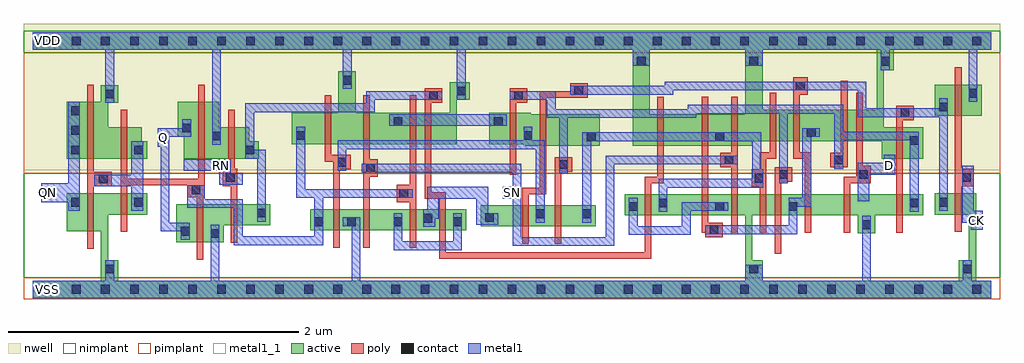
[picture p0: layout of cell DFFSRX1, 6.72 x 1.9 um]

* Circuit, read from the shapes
.subckt DFFSRX1 CK D Q QN RN SN VDD VSS
M1 VSS n1 QN VSS nfet w=0.26u l=0.045u
M2 n1 n2 VSS VSS nfet w=0.145u l=0.045u
M3 VSS n2 Q VSS nfet w=0.26u l=0.045u
M4 n3 RN VSS VSS nfet w=0.145u l=0.045u
M5 VSS n4 n2 VSS nfet w=0.145u l=0.045u
M6 n5 SN VSS VSS nfet w=0.145u l=0.045u
M7 n6 n2 n5 VSS nfet w=0.145u l=0.045u
M8 n5 n3 n6 VSS nfet w=0.145u l=0.045u
M9 n4 n7 n6 VSS nfet w=0.145u l=0.045u
M10 n8 n9 n4 VSS nfet w=0.145u l=0.045u
M11 n8 n3 n10 VSS nfet w=0.145u l=0.045u
M12 n10 n11 n8 VSS nfet w=0.145u l=0.045u
M13 VSS SN n10 VSS nfet w=0.145u l=0.045u
M14 n12 n8 VSS VSS nfet w=0.145u l=0.045u
M15 n11 n9 n12 VSS nfet w=0.145u l=0.045u
M16 n13 n7 n11 VSS nfet w=0.145u l=0.045u
M17 VSS D n13 VSS nfet w=0.145u l=0.045u
M18 n9 n7 VSS VSS nfet w=0.145u l=0.045u
M19 VSS CK n7 VSS nfet w=0.145u l=0.045u
M20 VDD n1 QN VDD pfet w=0.39u l=0.045u
M21 n1 n2 VDD VDD pfet w=0.215u l=0.045u
M22 VDD n2 Q VDD pfet w=0.39u l=0.045u
M23 n3 RN VDD VDD pfet w=0.215u l=0.045u
M24 VDD n4 n2 VDD pfet w=0.215u l=0.045u
M25 n14 SN VDD VDD pfet w=0.215u l=0.045u
M26 n15 n2 n14 VDD pfet w=0.215u l=0.045u
M27 VDD n3 n15 VDD pfet w=0.215u l=0.045u
M28 n4 n9 n14 VDD pfet w=0.215u l=0.045u
M29 n8 n7 n4 VDD pfet w=0.215u l=0.045u
M30 n16 n3 VDD VDD pfet w=0.215u l=0.045u
M31 n8 n11 n16 VDD pfet w=0.215u l=0.045u
M32 VDD SN n8 VDD pfet w=0.215u l=0.045u
M33 n17 n8 VDD VDD pfet w=0.215u l=0.045u
M34 n11 n7 n17 VDD pfet w=0.215u l=0.045u
M35 n18 n9 n11 VDD pfet w=0.215u l=0.045u
M36 VDD D n18 VDD pfet w=0.215u l=0.045u
M37 n9 n7 VDD VDD pfet w=0.215u l=0.045u
M38 VDD CK n7 VDD pfet w=0.215u l=0.045u
.ends

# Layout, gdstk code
import gdstk
lib = gdstk.Library(unit=1e-6, precision=5e-10)
def R(c, l, rs):  # rectangles x0, y0, x1, y1
    for r in rs: c.add(gdstk.rectangle(r[:2], r[2:], *l))
def A(c, l, x, y, w, h, nx, ny, dx, dy):  # array of equal rectangles
    R(c, l, [(x+i*dx, y+j*dy, x+i*dx+w, y+j*dy+h) for i in range(nx) for j in range(ny)])
def P(c, l, *ps):  # polygons
    for p in ps: c.add(gdstk.Polygon(p, *l))
active = (1, 0)
nwell = (2, 0)
poly = (3, 0)
nimplant = (4, 0)
pimplant = (5, 0)
contact = (6, 0)
metal1 = (7, 0)
metal1_1 = (7, 1)

dffsrx1 = lib.new_cell('DFFSRX1')
R(dffsrx1, active, [(1.91,0.405,2.985,0.55), (3.085,0.435,3.875,0.58), (6.21,1.195,6.535,1.41)])
P(dffsrx1, active, [(0,1.77),(6.6,1.77),(6.6,1.65),(5.93,1.65),(5.93,1.51),(5.86,1.51),(5.86,1.115),(6.13,1.115),(6.13,0.9),(5.845,0.9),(5.845,1.02),(4.955,1.02),(4.955,0.99),(4.13,0.99),(4.13,1.65),(4.25,1.65),(4.25,1.205),(4.905,1.205),(4.905,1.65),(5.025,1.65),(5.025,1.235),(5.81,1.235),(5.81,1.65),(0,1.65)],
  [(0.47,1.405),(0.59,1.405),(0.59,1.285),(0.52,1.285),(0.52,1.115),(0.75,1.115),(0.75,1.02),(0.79,1.02),(0.79,0.9),(0.235,0.9),(0.235,1.29),(0.47,1.29)],
  [(2.105,1.5),(2.225,1.5),(2.225,1.215),(2.87,1.215),(2.87,1.425),(3.01,1.425),(3.01,1.305),(2.92,1.305),(2.92,1),(1.785,1),(1.785,1.215),(2.105,1.215)],
  [(1,1.29),(1.285,1.29),(1.285,1.115),(1.49,1.115),(1.49,1.02),(1.555,1.02),(1.555,0.9),(1.04,0.9),(1.04,1.05),(1,1.05)],
  [(3.145,1.215),(3.43,1.215),(3.43,1.205),(3.905,1.205),(3.905,0.99),(3.39,0.99),(3.39,1),(3.145,1)],
  [(0.235,0.66),(0.79,0.66),(0.79,0.515),(0.52,0.515),(0.52,0.2),(0.59,0.2),(0.59,0.06),(4.905,0.06),(4.905,0.51),(4.075,0.51),(4.075,0.655),(6.13,0.655),(6.13,0.51),(5.8,0.51),(5.8,0.385),(5.68,0.385),(5.68,0.51),(4.955,0.51),(4.955,0.2),(5.025,0.2),(5.025,0.06),(6.375,0.06),(6.375,0.2),(6.445,0.2),(6.445,0.515),(6.21,0.515),(6.21,0.66),(6.495,0.66),(6.495,0.06),(6.6,0.06),(6.6,-0.06),(0,-0.06),(0,0.06),(0.47,0.06),(0.47,0.4),(0.235,0.4)],
  [(0.99,0.585),(1.635,0.585),(1.635,0.44),(1.315,0.44),(1.315,0.325),(0.99,0.325)])
R(dffsrx1, nwell, [(-0.06,0.82,6.66,1.83)])
P(dffsrx1, poly, [(0.375,1.41),(0.42,1.41),(0.42,0.81),(0.545,0.81),(0.545,0.71),(0.42,0.71),(0.42,0.28),(0.375,0.28)],
  [(0.605,1.235),(0.65,1.235),(0.65,0.76),(1.14,0.76),(1.14,1.41),(1.185,1.41),(1.185,0.635),(1.175,0.635),(1.175,0.205),(1.13,0.205),(1.13,0.635),(1.065,0.635),(1.065,0.715),(0.65,0.715),(0.65,0.395),(0.605,0.395)],
  [(2.01,1.335),(2.055,1.335),(2.055,0.925),(2.19,0.925),(2.19,0.825),(2.115,0.825),(2.115,0.285),(2.07,0.285),(2.07,0.88),(2.01,0.88)],
  [(1.345,1.235),(1.39,1.235),(1.39,0.83),(1.41,0.83),(1.41,0.32),(1.365,0.32),(1.365,0.71),(1.31,0.71),(1.31,0.83),(1.345,0.83)],
  [(2.275,1.335),(2.32,1.335),(2.32,0.895),(2.375,0.895),(2.375,0.775),(2.32,0.775),(2.32,0.285),(2.275,0.285)],
  [(2.7,1.385),(2.82,1.385),(2.82,1.285),(2.745,1.285),(2.745,0.67),(2.845,0.67),(2.845,0.255),(4.215,0.255),(4.215,0.775),(4.3,0.775),(4.3,1.325),(4.345,1.325),(4.345,0.73),(4.26,0.73),(4.26,0.21),(2.8,0.21),(2.8,0.625),(2.7,0.625)],
  [(2.595,1.335),(2.64,1.335),(2.64,0.285),(2.595,0.285),(2.595,0.6),(2.505,0.6),(2.505,0.72),(2.595,0.72)],
  [(3.285,1.385),(3.405,1.385),(3.405,1.285),(3.33,1.285),(3.33,0.79),(3.285,0.79)],
  [(3.7,1.42),(3.82,1.42),(3.82,1.32),(3.535,1.32),(3.535,0.655),(3.415,0.655),(3.415,0.315),(3.37,0.315),(3.37,0.7),(3.49,0.7),(3.49,1.365),(3.7,1.365)],
  [(4.605,1.325),(4.65,1.325),(4.65,0.46),(4.75,0.46),(4.75,0.36),(4.63,0.36),(4.63,0.39),(4.605,0.39)],
  [(4.81,1.325),(4.855,1.325),(4.855,0.39),(4.81,0.39),(4.81,0.84),(4.735,0.84),(4.735,0.94),(4.81,0.94)],
  [(5.235,1.46),(5.335,1.46),(5.335,1.34),(5.28,1.34),(5.28,0.945),(5.36,0.945),(5.36,0.39),(5.315,0.39),(5.315,0.9),(5.235,0.9)],
  [(6.35,1.53),(6.395,1.53),(6.395,0.83),(6.48,0.83),(6.48,0.71),(6.395,0.71),(6.395,0.395),(6.35,0.395)],
  [(5.075,1.355),(5.12,1.355),(5.12,0.9),(5.05,0.9),(5.05,0.39),(5.005,0.39),(5.005,0.705),(4.95,0.705),(4.95,0.825),(5.005,0.825),(5.005,0.945),(5.075,0.945)],
  [(5.565,1.435),(5.61,1.435),(5.61,0.84),(5.49,0.84),(5.49,0.94),(5.565,0.94)],
  [(5.67,1.355),(5.715,1.355),(5.715,0.85),(5.77,0.85),(5.77,0.73),(5.63,0.73),(5.63,0.39),(5.585,0.39),(5.585,0.775),(5.67,0.775)],
  [(5.945,1.265),(6.065,1.265),(6.065,1.165),(5.99,1.165),(5.99,0.39),(5.945,0.39)],
  [(3.595,0.91),(3.715,0.91),(3.715,0.81),(3.64,0.81),(3.64,0.315),(3.595,0.315)],
  [(5.11,0.84),(5.23,0.84),(5.23,0.74),(5.155,0.74),(5.155,0.245),(5.11,0.245)])
R(dffsrx1, nimplant, [(-0.06,0.08,6.66,0.8), (-0.06,1.63,6.66,1.78)])
R(dffsrx1, pimplant, [(-0.06,-0.07,6.66,0.08), (-0.06,0.8,6.66,1.63)])
A(dffsrx1, contact, 0.07, -0.03, 0.06, 0.06, 33, 2, 0.2, 1.71)
A(dffsrx1, contact, 0.265, 0.93, 0.06, 0.06, 1, 3, 0, 0.135)
R(dffsrx1, contact, [(0.5,0.11,0.56,0.17), (4.935,0.11,4.995,0.17), (6.405,0.11,6.465,0.17), (1.225,0.355,1.285,0.415), (1.02,0.37,1.08,0.43), (4.66,0.38,4.72,0.44), (5.71,0.415,5.77,0.475), (1.94,0.435,2,0.495), (2.165,0.435,2.225,0.495), (2.485,0.435,2.545,0.495), (2.895,0.435,2.955,0.495), (2.69,0.46,2.75,0.52), (3.115,0.465,3.175,0.525), (3.465,0.49,3.525,0.55), (3.785,0.49,3.845,0.55), (1.545,0.495,1.605,0.555), (4.105,0.54,4.165,0.6), (4.7,0.54,4.76,0.6), (5.205,0.54,5.265,0.6), (4.31,0.565,4.37,0.625), (6.04,0.565,6.1,0.625), (0.265,0.57,0.325,0.63), (0.7,0.57,0.76,0.63), (6.24,0.57,6.3,0.63), (2.525,0.63,2.585,0.69), (1.095,0.655,1.155,0.715), (0.455,0.73,0.515,0.79), (4.97,0.735,5.03,0.795), (1.33,0.74,1.39,0.8), (6.4,0.74,6.46,0.8), (5.14,0.76,5.2,0.82), (5.69,0.76,5.75,0.82), (2.295,0.805,2.355,0.865), (3.625,0.83,3.685,0.89), (2.1,0.845,2.16,0.905), (4.765,0.86,4.825,0.92), (5.52,0.86,5.58,0.92), (0.7,0.93,0.76,0.99), (1.465,0.93,1.525,0.99), (6.04,0.995,6.1,1.055), (3.815,1.02,3.875,1.08), (4.7,1.02,4.76,1.08), (1.235,1.025,1.295,1.085), (1.815,1.03,1.875,1.09), (3.38,1.03,3.44,1.09), (5.33,1.05,5.39,1.11), (1.03,1.08,1.09,1.14), (2.485,1.125,2.545,1.185), (3.175,1.125,3.235,1.185), (5.975,1.185,6.035,1.245), (6.24,1.225,6.3,1.285), (2.73,1.305,2.79,1.365), (3.315,1.305,3.375,1.365), (0.5,1.315,0.56,1.375), (6.445,1.32,6.505,1.38), (2.92,1.335,2.98,1.395), (3.73,1.34,3.79,1.4), (5.255,1.37,5.315,1.43), (2.135,1.41,2.195,1.47), (4.16,1.54,4.22,1.6), (4.935,1.54,4.995,1.6), (5.84,1.54,5.9,1.6)])
R(dffsrx1, metal1, [(2.455,1.125,3.265,1.205)])
P(dffsrx1, metal1, [(0,1.77),(6.6,1.77),(6.6,1.65),(6.505,1.65),(6.505,1.29),(6.445,1.29),(6.445,1.65),(5.9,1.65),(5.9,1.51),(5.84,1.51),(5.84,1.65),(5.025,1.65),(5.025,1.54),(4.905,1.54),(4.905,1.65),(4.25,1.65),(4.25,1.54),(4.13,1.54),(4.13,1.65),(2.98,1.65),(2.98,1.305),(2.92,1.305),(2.92,1.65),(2.195,1.65),(2.195,1.38),(2.135,1.38),(2.135,1.65),(1.295,1.65),(1.295,0.995),(1.235,0.995),(1.235,1.65),(0.56,1.65),(0.56,1.285),(0.5,1.285),(0.5,1.65),(0,1.65)],
  [(0.245,1.29),(0.325,1.29),(0.325,0.54),(0.245,0.54),(0.245,0.6),(0.06,0.6),(0.06,0.73),(0.245,0.73)],
  [(1.03,1.17),(1.09,1.17),(1.09,1.05),(0.94,1.05),(0.94,0.46),(1.08,0.46),(1.08,0.34),(1.02,0.34),(1.02,0.4),(0.88,0.4),(0.88,0.98),(0.86,0.98),(0.86,1.11),(1.03,1.11)],
  [(0.68,1.02),(0.76,1.02),(0.76,0.54),(0.68,0.54),(0.68,0.71),(0.425,0.71),(0.425,0.79),(0.68,0.79)],
  [(2.295,1.365),(2.82,1.365),(2.82,1.305),(2.355,1.305),(2.355,1.22),(1.525,1.22),(1.525,0.96),(1.605,0.96),(1.605,0.465),(1.545,0.465),(1.545,0.9),(1.465,0.9),(1.465,1.28),(2.295,1.28)],
  [(1.065,0.715),(1.185,0.715),(1.185,0.62),(1.445,0.62),(1.445,0.365),(1.94,0.365),(1.94,0.63),(1.815,0.63),(1.815,1.12),(1.875,1.12),(1.875,0.69),(2.615,0.69),(2.615,0.63),(2,0.63),(2,0.305),(1.385,0.305),(1.385,0.56),(1.065,0.56)],
  [(4.35,1.43),(5.74,1.43),(5.74,1.245),(6.24,1.245),(6.24,1.315),(6.3,1.315),(6.3,0.54),(6.24,0.54),(6.24,1.185),(5.68,1.185),(5.68,1.37),(4.41,1.37),(4.41,1.34),(3.7,1.34),(3.7,1.4),(4.35,1.4)],
  [(3.285,1.365),(3.6,1.365),(3.6,1.24),(4.51,1.24),(4.51,1.27),(5.58,1.27),(5.58,1.085),(6.1,1.085),(6.1,0.535),(6.04,0.535),(6.04,1.025),(5.58,1.025),(5.58,0.83),(5.52,0.83),(5.52,1.21),(5.2,1.21),(5.2,0.73),(5.14,0.73),(5.14,1.21),(4.57,1.21),(4.57,1.18),(3.685,1.18),(3.685,0.8),(3.625,0.8),(3.625,1.18),(3.54,1.18),(3.54,1.305),(3.285,1.305)],
  [(3.38,1.12),(3.44,1.12),(3.44,1.025),(3.525,1.025),(3.525,0.46),(3.465,0.46),(3.465,0.965),(2.16,0.965),(2.16,0.815),(2.1,0.815),(2.1,1.025),(3.38,1.025)],
  [(1.04,0.895),(1.365,0.895),(1.365,0.8),(1.445,0.8),(1.445,0.72),(1.285,0.72),(1.285,0.815),(1.04,0.815)],
  [(0.5,0.2),(0.56,0.2),(0.56,0.06),(1.225,0.06),(1.225,0.445),(1.285,0.445),(1.285,0.06),(2.195,0.06),(2.195,0.435),(2.135,0.435),(2.135,0.495),(2.255,0.495),(2.255,0.06),(4.905,0.06),(4.905,0.17),(5.025,0.17),(5.025,0.06),(5.71,0.06),(5.71,0.505),(5.77,0.505),(5.77,0.06),(6.405,0.06),(6.405,0.2),(6.465,0.2),(6.465,0.06),(6.6,0.06),(6.6,-0.06),(0,-0.06),(0,0.06),(0.5,0.06)],
  [(2.265,0.865),(3.365,0.865),(3.365,0.36),(3.945,0.36),(3.945,0.92),(4.855,0.92),(4.855,0.86),(4.005,0.86),(4.005,0.3),(3.305,0.3),(3.305,0.625),(3.235,0.625),(3.235,0.705),(3.305,0.705),(3.305,0.805),(2.265,0.805)],
  [(2.715,0.705),(3.135,0.705),(3.135,0.525),(3.205,0.525),(3.205,0.445),(3.055,0.445),(3.055,0.625),(2.795,0.625),(2.795,0.485),(2.77,0.485),(2.77,0.43),(2.69,0.43),(2.69,0.55),(2.715,0.55)],
  [(2.485,0.525),(2.545,0.525),(2.545,0.33),(2.895,0.33),(2.895,0.525),(2.955,0.525),(2.955,0.27),(2.485,0.27)],
  [(3.785,1.08),(5.015,1.08),(5.015,0.825),(5.03,0.825),(5.03,0.7),(4.37,0.7),(4.37,0.535),(4.31,0.535),(4.31,0.76),(4.955,0.76),(4.955,1.02),(3.845,1.02),(3.845,0.46),(3.785,0.46)],
  [(4.105,0.63),(4.165,0.63),(4.165,0.435),(4.47,0.435),(4.47,0.6),(4.79,0.6),(4.79,0.54),(4.53,0.54),(4.53,0.375),(4.105,0.375)],
  [(5.3,1.11),(5.42,1.11),(5.42,1.05),(5.36,1.05),(5.36,0.57),(5.265,0.57),(5.265,0.38),(4.63,0.38),(4.63,0.44),(5.205,0.44),(5.205,0.63),(5.3,0.63)],
  [(5.86,0.925),(5.94,0.925),(5.94,0.79),(5.76,0.79),(5.76,0.605),(5.68,0.605),(5.68,0.87),(5.86,0.87)],
  [(6.4,0.85),(6.48,0.85),(6.48,0.54),(6.54,0.54),(6.54,0.41),(6.46,0.41),(6.46,0.46),(6.4,0.46)])
R(dffsrx1, metal1_1, [(0.06,-0.04,0.14,0.04), (6.46,0.435,6.54,0.515), (0.06,0.625,0.14,0.705), (3.26,0.625,3.34,0.705), (1.26,0.815,1.34,0.895), (5.86,0.815,5.94,0.895), (0.86,1.005,0.94,1.085), (0.06,1.67,0.14,1.75)])
dffsrx1.add(gdstk.Label('Q', (0.9,1.045), layer=7, texttype=1))
dffsrx1.add(gdstk.Label('QN', (0.1,0.665), layer=7, texttype=1))
dffsrx1.add(gdstk.Label('CK', (6.5,0.475), layer=7, texttype=1))
dffsrx1.add(gdstk.Label('D', (5.9,0.855), layer=7, texttype=1))
dffsrx1.add(gdstk.Label('SN', (3.3,0.665), layer=7, texttype=1))
dffsrx1.add(gdstk.Label('RN', (1.3,0.855), layer=7, texttype=1))
dffsrx1.add(gdstk.Label('VDD', (0.1,1.71), layer=7, texttype=1))
dffsrx1.add(gdstk.Label('VSS', (0.1,0), layer=7, texttype=1))
dffsrx1.add(gdstk.Label('DFFSRX1', (0,0), layer=63, texttype=0))

lib.write_gds('DFFSRX1.gds')
